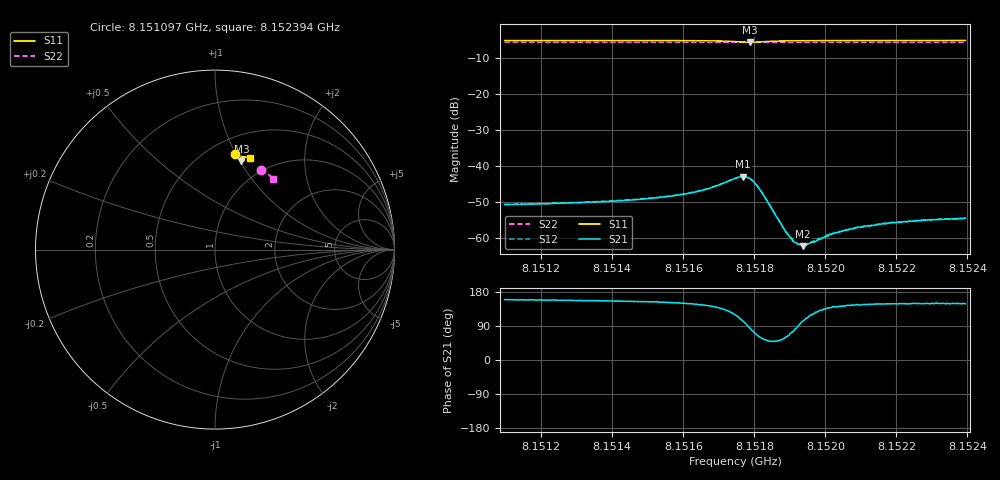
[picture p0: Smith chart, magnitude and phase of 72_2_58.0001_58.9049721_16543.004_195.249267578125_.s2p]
#  HZ  S  RI  R  50.00
! Rohde & Schwarz Vector Network Analyzer
! Rohde-Schwarz,ZNB20-2Port,1311601062101988,3.16
! Created: UTC 3/21/2024, 12:53:26 AM
! freq[Hz]  re:S11  im:S11  re:S21  im:S21  re:S12  im:S12  re:S22  im:S22
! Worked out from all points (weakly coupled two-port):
!   401 points, 8.151097 GHz to 8.152394 GHz, reference 50 ohm
!   highest |S21| = -42.93 dB at 8.151768 GHz (marker M1); lowest = -62.1 dB at 8.151937 GHz (marker M2)
!   lowest |S11| = -5.8 dB at 8.151788 GHz (marker M3), VSWR 3.11, Z = 38 + j50.8 ohm
!   |S11| at or under -10 dB: nowhere
!   |S22| runs from -5.8 to -5.8 dB; largest |S21 - S12| = 0.00015
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8.1510969e9  0.1111 0.5316  -0.00275 0.00104  -0.00275 0.00109  0.2578 0.4448
8.1513142e9  0.127 0.5282  -0.00288 0.00124  -0.00291 0.00125  0.2697 0.4374
8.1514309e9  0.1358 0.526  -0.00303 0.00142  -0.00302 0.00144  0.276 0.4332
8.1515314e9  0.1443 0.5234  -0.00326 0.00168  -0.00325 0.00175  0.2814 0.4296
8.1516352e9  0.1541 0.5189  -0.00372 0.00238  -0.00371 0.00247  0.287 0.4256
8.1516741e9  0.1584 0.5156  -0.00395 0.00301  -0.00393 0.0031  0.2891 0.4242
8.1517455e9  0.1631 0.5001  -0.00333 0.00586  -0.00326 0.00595  0.2924 0.4209
8.1517682e9  0.1573 0.4926  -0.00153 0.00697  -0.00147 0.00701  0.2934 0.4198
8.1517876e9  0.1474 0.4915  0.000729 0.00664  0.000802 0.0067  0.2939 0.4194
8.1518006e9  0.1418 0.4953  0.00185 0.00556  0.00193 0.00558  0.2943 0.4191
8.1518136e9  0.1392 0.5007  0.00231 0.00429  0.00241 0.00431  0.295 0.419
8.1518849e9  0.1485 0.5163  0.000698 0.00112  0.000723 0.00111  0.2993 0.4167
8.1519044e9  0.1515 0.5174  0.000297 0.000953  0.00032 0.000956  0.3003 0.416
8.1519174e9  0.1534 0.5177  0.000107 0.000871  0.000107 0.00086  0.3009 0.4155
8.1519368e9  0.1558 0.5179  -0.000171 0.000763  -0.000185 0.000798  0.302 0.4146
8.1519433e9  0.1567 0.5179  -0.000243 0.000787  -0.000265 0.000776  0.3024 0.4144
8.1519628e9  0.1591 0.5179  -0.000442 0.000784  -0.000457 0.000758  0.3033 0.4136
8.1520179e9  0.1644 0.5173  -0.000858 0.000756  -0.000854 0.000774  0.3063 0.4115
8.1520666e9  0.1687 0.5165  -0.00106 0.000772  -0.0011 0.000783  0.3088 0.4095
8.1521801e9  0.178 0.5141  -0.0014 0.000862  -0.00137 0.000899  0.3146 0.4049
8.1522838e9  0.1855 0.5118  -0.00153 0.000927  -0.00153 0.000953  0.3197 0.4007
8.1523941e9  0.1933 0.5093  -0.00163 0.000999  -0.00162 0.00101  0.3252 0.3961
